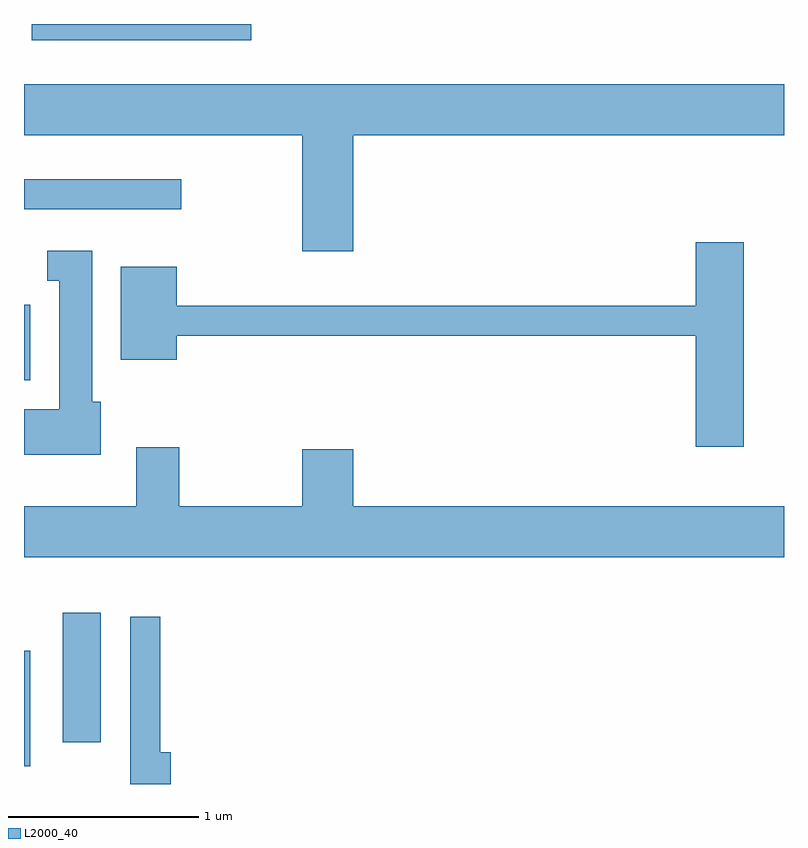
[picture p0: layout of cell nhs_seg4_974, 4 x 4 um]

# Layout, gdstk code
import gdstk
lib = gdstk.Library(unit=1e-6, precision=1e-09)
def R(c, l, rs):  # rectangles x0, y0, x1, y1
    for r in rs: c.add(gdstk.rectangle(r[:2], r[2:], *l))
def P(c, l, *ps):  # polygons
    for p in ps: c.add(gdstk.Polygon(p, *l))
L2000_40 = (2000, 40)

nhs_seg4_974 = lib.new_cell('nhs_seg4_974')
R(nhs_seg4_974, L2000_40, [(213.611,1298.076,213.644,1298.684), (213.816,1298.201,214.014,1298.884), (213.611,1300.106,213.644,1300.504), (213.611,1301.006,214.438,1301.164), (213.651,1301.896,214.808,1301.982)])
P(nhs_seg4_974, L2000_40, [(215.344,1301.396),(217.611,1301.396),(217.611,1301.664),(213.611,1301.664),(213.611,1301.396),(215.076,1301.396),(215.076,1300.786),(215.344,1300.786)],
  [(217.399,1300.834),(217.146,1300.834),(217.146,1300.499),(214.414,1300.499),(214.414,1300.704),(214.121,1300.704),(214.121,1300.216),(214.414,1300.216),(214.414,1300.341),(217.146,1300.341),(217.146,1299.756),(217.399,1299.756)],
  [(214.014,1299.994),(213.969,1299.994),(213.969,1300.789),(213.733,1300.789),(213.733,1300.631),(213.796,1300.631),(213.796,1299.954),(213.611,1299.954),(213.611,1299.716),(214.014,1299.716)],
  [(217.611,1299.444),(215.344,1299.444),(215.344,1299.744),(215.076,1299.744),(215.076,1299.444),(214.429,1299.444),(214.429,1299.754),(214.201,1299.754),(214.201,1299.444),(213.611,1299.444),(213.611,1299.176),(217.611,1299.176)],
  [(214.384,1298.149),(214.329,1298.149),(214.329,1298.863),(214.171,1298.863),(214.171,1297.982),(214.384,1297.982)])

lib.write_gds('nhs_seg4_974.gds')
